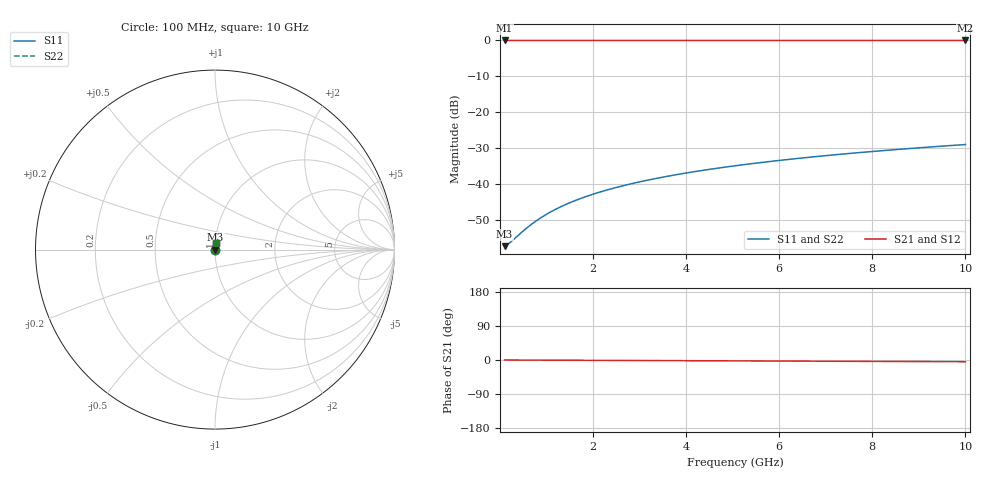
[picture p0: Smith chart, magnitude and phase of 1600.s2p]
# Hz S RI R 50.00
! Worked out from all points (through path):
!   100 points, 100 MHz to 10 GHz, reference 50 ohm
!   highest |S21| = -0.01 dB at 100 MHz (marker M1); lowest = 0.0 dB at 10 GHz (marker M2)
!   lowest |S11| = -57.3 dB at 100 MHz (marker M3), VSWR 1.00, Z = 50.1 + j0.0354 ohm
!   |S11| at or under -10 dB: start of sweep to end of sweep
!   |S22| runs from -57.3 to -29.0 dB; largest |S21 - S12| = 0
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1e8  0.00132 0.000354  0.9987 -0.000794  0.9987 -0.000794  0.00132 0.000354
2e8  0.00133 0.000707  0.9987 -0.00159  0.9987 -0.00159  0.00133 0.000707
5e8  0.00135 0.00177  0.9986 -0.00397  0.9986 -0.00397  0.00135 0.00177
6e8  0.00136 0.00212  0.9986 -0.00477  0.9986 -0.00477  0.00136 0.00212
7e8  0.00136 0.00247  0.9986 -0.00556  0.9986 -0.00556  0.00136 0.00247
9e8  0.00138 0.00318  0.9986 -0.00715  0.9986 -0.00715  0.00138 0.00318
1.1e9  0.0014 0.00389  0.9986 -0.00874  0.9986 -0.00874  0.0014 0.00389
1.3e9  0.00141 0.00459  0.9986 -0.0103  0.9986 -0.0103  0.00141 0.00459
1.5e9  0.00143 0.0053  0.9985 -0.0119  0.9985 -0.0119  0.00143 0.0053
1.8e9  0.00147 0.00636  0.9985 -0.0143  0.9985 -0.0143  0.00147 0.00636
2.1e9  0.0015 0.00742  0.9984 -0.0167  0.9984 -0.0167  0.0015 0.00742
2.5e9  0.00156 0.00883  0.9984 -0.0199  0.9984 -0.0199  0.00156 0.00883
2.9e9  0.00163 0.0102  0.9983 -0.023  0.9983 -0.023  0.00163 0.0102
3.4e9  0.00172 0.012  0.9981 -0.027  0.9981 -0.027  0.00172 0.012
3.8e9  0.00181 0.0134  0.998 -0.0302  0.998 -0.0302  0.00181 0.0134
4.2e9  0.0019 0.0148  0.9979 -0.0334  0.9979 -0.0334  0.0019 0.0148
5.1e9  0.00215 0.018  0.9976 -0.0405  0.9976 -0.0405  0.00215 0.018
5.9e9  0.00241 0.0208  0.9972 -0.0469  0.9972 -0.0469  0.00241 0.0208
6.7e9  0.0027 0.0236  0.9968 -0.0533  0.9968 -0.0533  0.0027 0.0236
7.5e9  0.00303 0.0265  0.9964 -0.0596  0.9964 -0.0596  0.00303 0.0265
8.4e9  0.00344 0.0296  0.9958 -0.0668  0.9958 -0.0668  0.00344 0.0296
1e10  0.00429 0.0353  0.9947 -0.0795  0.9947 -0.0795  0.00429 0.0353
